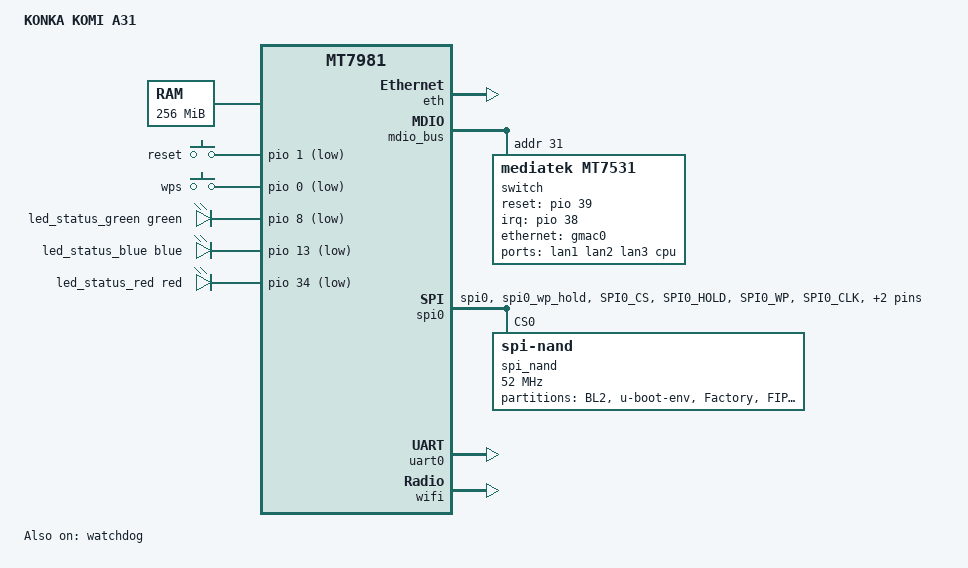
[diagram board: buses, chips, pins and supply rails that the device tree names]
// SPDX-License-Identifier: GPL-2.0-or-later OR MIT

/dts-v1/;

#include <dt-bindings/gpio/gpio.h>
#include <dt-bindings/input/input.h>
#include <dt-bindings/leds/common.h>

#include "mt7981.dtsi"

/ {
	model = "KONKA KOMI A31";
	compatible = "konka,komi-a31", "mediatek,mt7981";

	aliases {
		serial0 = &uart0;
		label-mac-device = &gmac1;
		led-boot = &led_status_red;
		led-failsafe = &led_status_red;
		led-running = &led_status_blue;
		led-upgrade = &led_status_green;
	};

	chosen {
		stdout-path = "serial0:115200n8";
	};

	memory {
		reg = <0 0x40000000 0 0x10000000>;
	};

	gpio-keys {
		compatible = "gpio-keys";

		button-reset {
			label = "reset";
			linux,code = <KEY_RESTART>;
			gpios = <&pio 1 GPIO_ACTIVE_LOW>;
		};

		button-wps {
			label = "wps";
			linux,code = <KEY_WPS_BUTTON>;
			gpios = <&pio 0 GPIO_ACTIVE_LOW>;
		};
	};

	gpio-leds {
		compatible = "gpio-leds";

		led_status_green: led-0 {
			color = <LED_COLOR_ID_GREEN>;
			function = LED_FUNCTION_STATUS;
			gpios = <&pio 8 GPIO_ACTIVE_LOW>;
		};

		led_status_blue: led-1 {
			color = <LED_COLOR_ID_BLUE>;
			function = LED_FUNCTION_STATUS;
			gpios = <&pio 13 GPIO_ACTIVE_LOW>;
		};

		led_status_red: led-2 {
			color = <LED_COLOR_ID_RED>;
			function = LED_FUNCTION_STATUS;
			gpios = <&pio 34 GPIO_ACTIVE_LOW>;
		};
	};
};

&eth {
	status = "okay";

	gmac0: mac@0 {
		compatible = "mediatek,eth-mac";
		reg = <0>;
		phy-mode = "2500base-x";

		nvmem-cells = <&macaddr_lan>;
		nvmem-cell-names = "mac-address";

		fixed-link {
			speed = <2500>;
			full-duplex;
			pause;
		};
	};

	gmac1: mac@1 {
		compatible = "mediatek,eth-mac";
		reg = <1>;

		nvmem-cells = <&macaddr_wan>;
		nvmem-cell-names = "mac-address";

		phy-mode = "gmii";
		phy-handle = <&int_gbe_phy>;
	};
};

&mdio_bus {
	switch: switch@0 {
		compatible = "mediatek,mt7531";
		reg = <31>;
		reset-gpios = <&pio 39 GPIO_ACTIVE_HIGH>;
		interrupt-controller;
		#interrupt-cells = <1>;
		interrupt-parent = <&pio>;
		interrupts = <38 IRQ_TYPE_LEVEL_HIGH>;
	};
};

&pio {
	spi0_flash_pins: spi0-pins {
		mux {
			function = "spi";
			groups = "spi0", "spi0_wp_hold";
		};

		conf-pu {
			pins = "SPI0_CS", "SPI0_HOLD", "SPI0_WP";
			drive-strength = <8>;
			mediatek,pull-up-adv = <0>;
		};

		conf-pd {
			pins = "SPI0_CLK", "SPI0_MOSI", "SPI0_MISO";
			drive-strength = <8>;
			mediatek,pull-up-adv = <0>;
		};
	};
};

&spi0 {
	pinctrl-names = "default";
	pinctrl-0 = <&spi0_flash_pins>;
	status = "okay";

	spi_nand@0 {
		compatible = "spi-nand";
		#address-cells = <1>;
		#size-cells = <1>;
		reg = <0>;

		spi-max-frequency = <52000000>;
		spi-tx-bus-width = <4>;
		spi-rx-bus-width = <4>;

		mediatek,nmbm;
		mediatek,bmt-max-ratio = <1>;
		mediatek,bmt-max-reserved-blocks = <64>;

		partitions {
			compatible = "fixed-partitions";
			#address-cells = <1>;
			#size-cells = <1>;

			partition@0 {
				label = "BL2";
				reg = <0x0000000 0x0100000>;
				read-only;
			};

			partition@100000 {
				label = "u-boot-env";
				reg = <0x0100000 0x0080000>;
			};

			factory: partition@180000 {
				label = "Factory";
				reg = <0x0180000 0x0200000>;
				read-only;
			};

			partition@380000 {
				label = "FIP";
				reg = <0x0380000 0x0200000>;
				read-only;
			};

			partition@580000 {
				label = "ubi";
				reg = <0x0580000 0x7000000>;
			};
		};
	};
};

&switch {
	ports {
		#address-cells = <1>;
		#size-cells = <0>;

		port@0 {
			reg = <0>;
			label = "lan1";
		};

		port@1 {
			reg = <1>;
			label = "lan2";
		};

		port@2 {
			reg = <2>;
			label = "lan3";
		};

		port@6 {
			reg = <6>;
			label = "cpu";
			ethernet = <&gmac0>;
			phy-mode = "2500base-x";

			fixed-link {
				speed = <2500>;
				full-duplex;
				pause;
			};
		};
	};
};

&uart0 {
	status = "okay";
};

&watchdog {
	status = "okay";
};

&wifi {
	status = "okay";

	mediatek,mtd-eeprom = <&factory 0x0>;
};

&factory {
	compatible = "nvmem-cells";
	#address-cells = <1>;
	#size-cells = <1>;

	macaddr_wan: macaddr@24 {
		reg = <0x24 0x6>;
	};

	macaddr_lan: macaddr@2a {
		reg = <0x2a 0x6>;
	};
};
